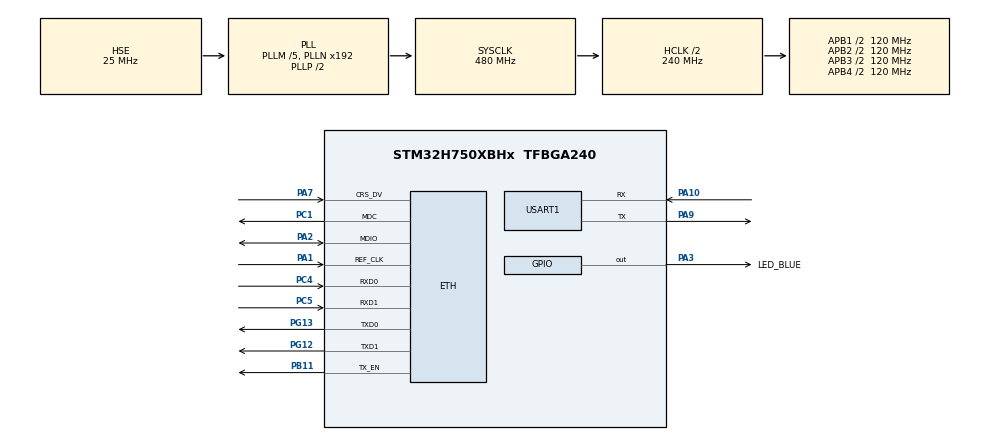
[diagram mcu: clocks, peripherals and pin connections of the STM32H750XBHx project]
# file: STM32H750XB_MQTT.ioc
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CORTEX_M7.AccessPermission-Cortex_Memory_Protection_Unit_Region0_Settings=MPU_REGION_FULL_ACCESS
CORTEX_M7.AccessPermission-Cortex_Memory_Protection_Unit_Region1_Settings=MPU_REGION_FULL_ACCESS
CORTEX_M7.AccessPermission_S-Cortex_Memory_Protection_Unit_Region1_Settings_S=MPU_REGION_FULL_ACCESS
CORTEX_M7.AccessPermission_Spec=MPU_REGION_FULL_ACCESS
CORTEX_M7.BaseAddress-Cortex_Memory_Protection_Unit_Region0_Settings=0x30040000
CORTEX_M7.BaseAddress-Cortex_Memory_Protection_Unit_Region1_Settings=0x30044000
CORTEX_M7.BaseAddress_S-Cortex_Memory_Protection_Unit_Region1_Settings_S=0x30044000
CORTEX_M7.BaseAddress_Spec=0x30040000
CORTEX_M7.CPU_DCache=Enabled
CORTEX_M7.CPU_ICache=Enabled
CORTEX_M7.DisableExec_Spec=MPU_INSTRUCTION_ACCESS_ENABLE
CORTEX_M7.Enable-Cortex_Memory_Protection_Unit_Region0_Settings=MPU_REGION_ENABLE
CORTEX_M7.Enable-Cortex_Memory_Protection_Unit_Region1_Settings=MPU_REGION_ENABLE
CORTEX_M7.Enable_S-Cortex_Memory_Protection_Unit_Region1_Settings_S=MPU_REGION_ENABLE
CORTEX_M7.IsBufferable-Cortex_Memory_Protection_Unit_Region0_Settings=MPU_ACCESS_BUFFERABLE
CORTEX_M7.IsBufferable_Spec=MPU_ACCESS_BUFFERABLE
CORTEX_M7.IsCacheable-Cortex_Memory_Protection_Unit_Region0_Settings=MPU_ACCESS_NOT_CACHEABLE
CORTEX_M7.IsCacheable-Cortex_Memory_Protection_Unit_Region1_Settings=MPU_ACCESS_CACHEABLE
CORTEX_M7.IsCacheable_S-Cortex_Memory_Protection_Unit_Region1_Settings_S=MPU_ACCESS_CACHEABLE
CORTEX_M7.IsShareable-Cortex_Memory_Protection_Unit_Region0_Settings=MPU_ACCESS_NOT_SHAREABLE
CORTEX_M7.IsShareable_Spec=MPU_ACCESS_NOT_SHAREABLE
CORTEX_M7.MPU_Control=MPU_PRIVILEGED_DEFAULT
CORTEX_M7.Size-Cortex_Memory_Protection_Unit_Region0_Settings=MPU_REGION_SIZE_256B
CORTEX_M7.Size-Cortex_Memory_Protection_Unit_Region1_Settings=MPU_REGION_SIZE_16KB
CORTEX_M7.Size_S-Cortex_Memory_Protection_Unit_Region1_Settings_S=MPU_REGION_SIZE_16KB
CORTEX_M7.Size_Spec=MPU_REGION_SIZE_256B
CORTEX_M7.SubRegionDisable_Spec=0x0
CORTEX_M7.TypeExtField-Cortex_Memory_Protection_Unit_Region0_Settings=MPU_TEX_LEVEL0
CORTEX_M7.default_mode_Activation=1
ETH.MACAddr=E4\:54\:E8\:06\:84\:B2
ETH.MediaInterface=HAL_ETH_RMII_MODE
ETH.RxBuffAddress=0x30040200
ETH.RxBuffLen=1528
ETH.RxDescAddress=0x30040000
ETH.TxDescAddress=0x30040060
FREERTOS.Tasks01=task_Default,0,512,Task_Default,Default,NULL,Dynamic,NULL,NULL;task_LED,-3,128,Task_LED,Default,NULL,Dynamic,NULL,NULL
FREERTOS.configENABLE_FPU=1
LWIP.BSP.number=1
LWIP.ETHARP_SUPPORT_STATIC_ENTRIES=1
LWIP.GATEWAY_ADDRESS=192.168.068.001
LWIP.IP_ADDRESS=192.168.068.145
LWIP.IP_FORWARD=1
LWIP.LWIP_DHCP=0
LWIP.LWIP_NETIF_STATUS_CALLBACK=1
LWIP.LWIP_RAM_HEAP_POINTER=0x30044000
LWIP.MEMP_MEM_MALLOC=1
LWIP.MEMP_USE_CUSTOM_POOLS=0
LWIP.MEM_SIZE=14336
LWIP.NETMASK_ADDRESS=255.255.255.000
LWIP.Version=v2.1.2_Cube
LWIP0.BSP.STBoard=false
LWIP0.BSP.api=BSP_COMPONENT_DRIVER
LWIP0.BSP.component=LAN8742
LWIP0.BSP.instance=LAN8742
LWIP0.BSP.name=Driver_PHY
LWIP0.BSP.solution=LAN8742
Mcu.Family=STM32H7
Mcu.Name=STM32H750XBHx
Mcu.Package=TFBGA240
NVIC.ETH_IRQn=true\:5\:0\:false\:false\:true\:true\:true\:true\:true
NVIC.PriorityGroup=NVIC_PRIORITYGROUP_4
NVIC.TIM6_DAC_IRQn=true\:15\:0\:false\:false\:true\:false\:false\:true\:true
NVIC.TimeBase=TIM6_DAC_IRQn
NVIC.TimeBaseIP=TIM6
PA1.GPIO_Speed=GPIO_SPEED_FREQ_VERY_HIGH
PA1.Mode=RMII
PA1.Signal=ETH_REF_CLK
PA10.Mode=Asynchronous
PA10.Signal=USART1_RX
PA13\ (JTMS/SWDIO).Mode=Serial_Wire
PA13\ (JTMS/SWDIO).Signal=DEBUG_JTMS-SWDIO
PA14\ (JTCK/SWCLK).Mode=Serial_Wire
PA14\ (JTCK/SWCLK).Signal=DEBUG_JTCK-SWCLK
PA2.GPIO_Speed=GPIO_SPEED_FREQ_VERY_HIGH
PA2.Mode=RMII
PA2.Signal=ETH_MDIO
PA3.GPIO_Label=LED_BLUE
PA3.GPIO_PuPd=GPIO_PULLUP
PA3.PinState=GPIO_PIN_SET
PA3.Signal=GPIO_Output
PA7.GPIO_Speed=GPIO_SPEED_FREQ_VERY_HIGH
PA7.Mode=RMII
PA7.Signal=ETH_CRS_DV
PA9.Mode=Asynchronous
PA9.Signal=USART1_TX
PB11.GPIO_Speed=GPIO_SPEED_FREQ_VERY_HIGH
PB11.Mode=RMII
PB11.Signal=ETH_TX_EN
PC1.GPIO_Speed=GPIO_SPEED_FREQ_VERY_HIGH
PC1.Mode=RMII
PC1.Signal=ETH_MDC
PC14-OSC32_IN\ (OSC32_IN).Mode=LSE-External-Oscillator
PC14-OSC32_IN\ (OSC32_IN).Signal=RCC_OSC32_IN
PC15-OSC32_OUT\ (OSC32_OUT).Mode=LSE-External-Oscillator
PC15-OSC32_OUT\ (OSC32_OUT).Signal=RCC_OSC32_OUT
PC4.GPIO_Speed=GPIO_SPEED_FREQ_VERY_HIGH
PC4.Mode=RMII
PC4.Signal=ETH_RXD0
PC5.GPIO_Speed=GPIO_SPEED_FREQ_VERY_HIGH
PC5.Mode=RMII
PC5.Signal=ETH_RXD1
PG12.GPIO_Speed=GPIO_SPEED_FREQ_VERY_HIGH
PG12.Mode=RMII
PG12.Signal=ETH_TXD1
PG13.GPIO_Speed=GPIO_SPEED_FREQ_VERY_HIGH
PG13.Mode=RMII
PG13.Signal=ETH_TXD0
PH0-OSC_IN\ (PH0).Mode=HSE-External-Oscillator
PH0-OSC_IN\ (PH0).Signal=RCC_OSC_IN
PH1-OSC_OUT\ (PH1).Mode=HSE-External-Oscillator
PH1-OSC_OUT\ (PH1).Signal=RCC_OSC_OUT
ProjectManager.HeapSize=0x1000
ProjectManager.StackSize=0x1000
ProjectManager.TargetToolchain=EWARM V8.32
RCC.ADCFreq_Value=50390625
RCC.APB1Freq_Value=120000000
RCC.APB2Freq_Value=120000000
RCC.APB3Freq_Value=120000000
RCC.APB4Freq_Value=120000000
RCC.CortexFreq_Value=480000000
RCC.D1PPRE=RCC_APB3_DIV2
RCC.D2PPRE1=RCC_APB1_DIV2
RCC.D2PPRE2=RCC_APB2_DIV2
RCC.D3PPRE=RCC_APB4_DIV2
RCC.DIVM1=5
RCC.DIVN1=192
RCC.HCLKFreq_Value=240000000
RCC.HPRE=RCC_HCLK_DIV2
RCC.PLLFRACN=0
RCC.PLLSourceVirtual=RCC_PLLSOURCE_HSE
RCC.PWR_Regulator_Voltage_Scale=PWR_REGULATOR_VOLTAGE_SCALE0
RCC.ProductRev=revV
RCC.SYSCLKFreq_VALUE=480000000
RCC.SYSCLKSource=RCC_SYSCLKSOURCE_PLLCLK
RCC.USBFreq_Value=480000000
USART1.VirtualMode-Asynchronous=VM_ASYNC
VP_FREERTOS_VS_CMSIS_V1.Mode=CMSIS_V1
VP_LWIP_VS_Enabled.Mode=Enabled
VP_SYS_VS_tim6.Mode=TIM6
board=custom

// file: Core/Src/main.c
/* USER CODE BEGIN Header */
/**
 ******************************************************************************
 * @file           : main.c
 * @brief          : Main program body
 ******************************************************************************
 * @attention
 *
 * Copyright (c) 2023 STMicroelectronics.
 * All rights reserved.
 *
 * This software is licensed under terms that can be found in the LICENSE file
 * in the root directory of this software component.
 * If no LICENSE file comes with this software, it is provided AS-IS.
 *
 ******************************************************************************
 */
/* USER CODE END Header */
#include "main.h"
#include "cmsis_os.h"
#include "lwip.h"
#include "usart.h"
#include "gpio.h"

/* USER CODE BEGIN Includes */
#include "stdio.h"
#include "string.h"

/* USER CODE END Includes */

void SystemClock_Config(void);
static void MPU_Initialize(void);
static void MPU_Config(void);
void MX_FREERTOS_Init(void);

int main(void)
{

  /* Enable I-Cache---------------------------------------------------------*/
  SCB_EnableICache();

  /* Enable D-Cache---------------------------------------------------------*/
  SCB_EnableDCache();

  /* MCU Configuration--------------------------------------------------------*/

  /* Reset of all peripherals, Initializes the Flash interface and the Systick. */
  HAL_Init();

  /* MPU Configuration--------------------------------------------------------*/
  MPU_Config();

  /* Configure the system clock */
  SystemClock_Config();

  /* USER CODE BEGIN SysInit */
    HAL_Delay(100);
  /* USER CODE END SysInit */

  /* Initialize all configured peripherals */
  MX_GPIO_Init();
  MX_USART1_UART_Init();
  /* USER CODE BEGIN 2 */
    printf("STM32H750 MQTT\r\n");
  /* USER CODE END 2 */

  /* Call init function for freertos objects (in freertos.c) */
  MX_FREERTOS_Init();

  /* Start scheduler */
  osKernelStart();

  /* We should never get here as control is now taken by the scheduler */
  /* Infinite loop */
    while (1)
    {

    }
}

void SystemClock_Config(void)
{
  RCC_OscInitTypeDef RCC_OscInitStruct = {0};
  RCC_ClkInitTypeDef RCC_ClkInitStruct = {0};

  /** Supply configuration update enable
  */
  HAL_PWREx_ConfigSupply(PWR_LDO_SUPPLY);

  /** Configure the main internal regulator output voltage
  */
  __HAL_PWR_VOLTAGESCALING_CONFIG(PWR_REGULATOR_VOLTAGE_SCALE1);

  while(!__HAL_PWR_GET_FLAG(PWR_FLAG_VOSRDY)) {}

  __HAL_RCC_SYSCFG_CLK_ENABLE();
  __HAL_PWR_VOLTAGESCALING_CONFIG(PWR_REGULATOR_VOLTAGE_SCALE0);

  while(!__HAL_PWR_GET_FLAG(PWR_FLAG_VOSRDY)) {}

  /** Initializes the RCC Oscillators according to the specified parameters
  * in the RCC_OscInitTypeDef structure.
  */
  RCC_OscInitStruct.OscillatorType = RCC_OSCILLATORTYPE_HSE;
  RCC_OscInitStruct.HSEState = RCC_HSE_ON;
  RCC_OscInitStruct.PLL.PLLState = RCC_PLL_ON;
  RCC_OscInitStruct.PLL.PLLSource = RCC_PLLSOURCE_HSE;
  RCC_OscInitStruct.PLL.PLLM = 5;
  RCC_OscInitStruct.PLL.PLLN = 192;
  RCC_OscInitStruct.PLL.PLLP = 2;
  RCC_OscInitStruct.PLL.PLLQ = 2;
  RCC_OscInitStruct.PLL.PLLR = 2;
  RCC_OscInitStruct.PLL.PLLRGE = RCC_PLL1VCIRANGE_2;
  RCC_OscInitStruct.PLL.PLLVCOSEL = RCC_PLL1VCOWIDE;
  RCC_OscInitStruct.PLL.PLLFRACN = 0;
  if (HAL_RCC_OscConfig(&RCC_OscInitStruct) != HAL_OK)
  {
    Error_Handler();
  }

  /** Initializes the CPU, AHB and APB buses clocks
  */
  RCC_ClkInitStruct.ClockType = RCC_CLOCKTYPE_HCLK|RCC_CLOCKTYPE_SYSCLK
                              |RCC_CLOCKTYPE_PCLK1|RCC_CLOCKTYPE_PCLK2
                              |RCC_CLOCKTYPE_D3PCLK1|RCC_CLOCKTYPE_D1PCLK1;
  RCC_ClkInitStruct.SYSCLKSource = RCC_SYSCLKSOURCE_PLLCLK;
  RCC_ClkInitStruct.SYSCLKDivider = RCC_SYSCLK_DIV1;
  RCC_ClkInitStruct.AHBCLKDivider = RCC_HCLK_DIV2;
  RCC_ClkInitStruct.APB3CLKDivider = RCC_APB3_DIV2;
  RCC_ClkInitStruct.APB1CLKDivider = RCC_APB1_DIV2;
  RCC_ClkInitStruct.APB2CLKDivider = RCC_APB2_DIV2;
  RCC_ClkInitStruct.APB4CLKDivider = RCC_APB4_DIV2;

  if (HAL_RCC_ClockConfig(&RCC_ClkInitStruct, FLASH_LATENCY_4) != HAL_OK)
  {
    Error_Handler();
  }
}

/* MPU Configuration */

void MPU_Config(void)
{
  MPU_Region_InitTypeDef MPU_InitStruct = {0};

  /* Disables the MPU */
  HAL_MPU_Disable();

  /** Initializes and configures the Region and the memory to be protected
  */
  MPU_InitStruct.Enable = MPU_REGION_ENABLE;
  MPU_InitStruct.Number = MPU_REGION_NUMBER0;
  MPU_InitStruct.BaseAddress = 0x30040000;
  MPU_InitStruct.Size = MPU_REGION_SIZE_256B;
  MPU_InitStruct.SubRegionDisable = 0x0;
  MPU_InitStruct.TypeExtField = MPU_TEX_LEVEL0;
  MPU_InitStruct.AccessPermission = MPU_REGION_FULL_ACCESS;
  MPU_InitStruct.DisableExec = MPU_INSTRUCTION_ACCESS_ENABLE;
  MPU_InitStruct.IsShareable = MPU_ACCESS_NOT_SHAREABLE;
  MPU_InitStruct.IsCacheable = MPU_ACCESS_NOT_CACHEABLE;
  MPU_InitStruct.IsBufferable = MPU_ACCESS_BUFFERABLE;

  HAL_MPU_ConfigRegion(&MPU_InitStruct);

  /** Initializes and configures the Region and the memory to be protected
  */
  MPU_InitStruct.Number = MPU_REGION_NUMBER1;
  MPU_InitStruct.BaseAddress = 0x30044000;
  MPU_InitStruct.Size = MPU_REGION_SIZE_16KB;
  MPU_InitStruct.IsCacheable = MPU_ACCESS_CACHEABLE;
  MPU_InitStruct.IsBufferable = MPU_ACCESS_NOT_BUFFERABLE;

  HAL_MPU_ConfigRegion(&MPU_InitStruct);
  /* Enables the MPU */
  HAL_MPU_Enable(MPU_PRIVILEGED_DEFAULT);

}

void HAL_TIM_PeriodElapsedCallback(TIM_HandleTypeDef *htim)
{
  if (htim->Instance == TIM6) {
    HAL_IncTick();
  }
}

void Error_Handler(void)
{
    __disable_irq();
    while (1)
    {
    }
}

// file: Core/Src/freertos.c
/* USER CODE BEGIN Header */
/**
 ******************************************************************************
 * File Name          : freertos.c
 * Description        : Code for freertos applications
 ******************************************************************************
 * @attention
 *
 * Copyright (c) 2023 STMicroelectronics.
 * All rights reserved.
 *
 * This software is licensed under terms that can be found in the LICENSE file
 * in the root directory of this software component.
 * If no LICENSE file comes with this software, it is provided AS-IS.
 *
 ******************************************************************************
 */
/* USER CODE END Header */

#include "FreeRTOS.h"
#include "task.h"
#include "main.h"
#include "cmsis_os.h"

/* USER CODE BEGIN Includes */
#include "stdio.h"
#include "string.h"
#include "lwip/apps/mqtt.h"
#include "lwip/apps/mqtt_priv.h"
#include "lwip/timeouts.h"
#include "lwip/ip_addr.h"
#include "lwip/mem.h"
#include "lwip/err.h"
#include "lwip/pbuf.h"
#include "lwip/altcp.h"
#include "lwip/altcp_tcp.h"
#include "lwip/altcp_tls.h"
#include "mqttclient.h"
/* USER CODE END Includes */

/* USER CODE BEGIN PTD */
#define MQTT_CLIENT_ID "MQTT_CLIENT"
#define MQTT_HOST_IP "152.136.55.68"
#define MQTT_HOST_PORT 1883
#define MQTT_HOST_USER "gywang"
#define MQTT_HOST_PASS "wgy123456!"

#define QOS0 0
#define QOS1 1
#define QOS2 2
/* USER CODE END PTD */

osThreadId task_DefaultHandle;
osThreadId task_LEDHandle;

/* USER CODE BEGIN FunctionPrototypes */

void MQTT_Connect_Request_Callback(mqtt_client_t *client, void *arg, mqtt_connection_status_t status)
{
    if (status == MQTT_CONNECT_ACCEPTED)
    {
        mqtt_set_inpub_callback(client, MQTT_Topic_Callback, MQTT_Data_Callback, arg);
    }
    else
    {
        MQTT_Connect(client, MQTT_HOST_IP, MQTT_HOST_PORT, MQTT_CLIENT_ID,
                     MQTT_HOST_USER, MQTT_HOST_PASS, MQTT_Connect_Request_Callback);
    }
}

void MQTT_Topic_Callback(void *arg, const char *topic, u32_t tot_len)
{
    printf("MQTT_Topic_Callback: %s\r\n", topic);
    if (strcmp(topic, "test") == 0)
    {
    }
    else if (strcmp(topic, "LED") == 0)
    {
    }
}

void MQTT_Data_Callback(void *arg, const u8_t *data, u16_t len, u8_t flags)
{
    printf("MQTT_Data_Callback: %s\r\n", data);
}

/* USER CODE END FunctionPrototypes */

void Task_Default(void const *argument);
void Task_LED(void const *argument);

extern void MX_LWIP_Init(void);
void MX_FREERTOS_Init(void); /* (MISRA C 2004 rule 8.1) */

/* GetIdleTaskMemory prototype (linked to static allocation support) */
void vApplicationGetIdleTaskMemory(StaticTask_t **ppxIdleTaskTCBBuffer, StackType_t **ppxIdleTaskStackBuffer, uint32_t *pulIdleTaskStackSize);

/* USER CODE BEGIN GET_IDLE_TASK_MEMORY */
static StaticTask_t xIdleTaskTCBBuffer;
static StackType_t xIdleStack[configMINIMAL_STACK_SIZE];

void vApplicationGetIdleTaskMemory(StaticTask_t **ppxIdleTaskTCBBuffer, StackType_t **ppxIdleTaskStackBuffer, uint32_t *pulIdleTaskStackSize)
{
    *ppxIdleTaskTCBBuffer = &xIdleTaskTCBBuffer;
    *ppxIdleTaskStackBuffer = &xIdleStack[0];
    *pulIdleTaskStackSize = configMINIMAL_STACK_SIZE;
    /* place for user code */
}
/* USER CODE END GET_IDLE_TASK_MEMORY */

void MX_FREERTOS_Init(void)
{

    /* Create the thread(s) */
    /* definition and creation of task_Default */
    osThreadDef(task_Default, Task_Default, osPriorityNormal, 0, 512);
    task_DefaultHandle = osThreadCreate(osThread(task_Default), NULL);

    /* definition and creation of task_LED */
    osThreadDef(task_LED, Task_LED, osPriorityIdle, 0, 128);
    task_LEDHandle = osThreadCreate(osThread(task_LED), NULL);

}

void Task_Default(void const *argument)
{
    /* init code for LWIP */
    MX_LWIP_Init();
    /* USER CODE BEGIN Task_Default */
    mqtt_client_t *mqttClient = mqtt_client_new();
    if (mqttClient != NULL)
    {
        err_t err;
        err = MQTT_Connect(mqttClient, MQTT_HOST_IP, MQTT_HOST_PORT, MQTT_CLIENT_ID,
                           MQTT_HOST_USER, MQTT_HOST_PASS, MQTT_Connect_Request_Callback);
        if (err == ERR_OK)
        {

            MQTT_Subscribe(mqttClient, "LED", QOS1, NULL);
        }
        else
        {
        }
    }

    /* Infinite loop */
    for (;;)
    {
        MQTT_Publish(mqttClient, "test", "hello", QOS1, 0, NULL);
        osDelay(1000);
    }
    /* USER CODE END Task_Default */
}

void Task_LED(void const *argument)
{
    /* USER CODE BEGIN Task_LED */
    /* Infinite loop */
    for (;;)
    {
        HAL_GPIO_TogglePin(LED_BLUE_GPIO_Port, LED_BLUE_Pin);
        osDelay(500);
    }
    /* USER CODE END Task_LED */
}
